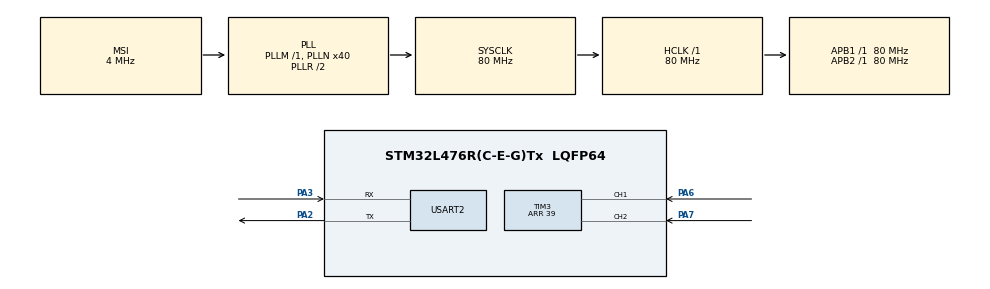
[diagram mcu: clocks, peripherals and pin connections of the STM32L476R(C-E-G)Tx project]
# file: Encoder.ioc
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Mcu.Family=STM32L4
Mcu.Name=STM32L476R(C-E-G)Tx
Mcu.Package=LQFP64
NVIC.PriorityGroup=NVIC_PRIORITYGROUP_4
PA13\ (JTMS-SWDIO).Mode=Serial_Wire
PA13\ (JTMS-SWDIO).Signal=SYS_JTMS-SWDIO
PA14\ (JTCK-SWCLK).Mode=Serial_Wire
PA14\ (JTCK-SWCLK).Signal=SYS_JTCK-SWCLK
PA2.Mode=Asynchronous
PA2.Signal=USART2_TX
PA3.Mode=Asynchronous
PA3.Signal=USART2_RX
PA6.Signal=S_TIM3_CH1
PA7.Signal=S_TIM3_CH2
ProjectManager.HeapSize=0x200
ProjectManager.StackSize=0x400
ProjectManager.TargetToolchain=STM32CubeIDE
RCC.AHBFreq_Value=80000000
RCC.APB1Freq_Value=80000000
RCC.APB1TimFreq_Value=80000000
RCC.APB2Freq_Value=80000000
RCC.APB2TimFreq_Value=80000000
RCC.CortexFreq_Value=80000000
RCC.HCLKFreq_Value=80000000
RCC.HSE_VALUE=8000000
RCC.HSI_VALUE=16000000
RCC.LSE_VALUE=32768
RCC.MSI_VALUE=4000000
RCC.PLLN=40
RCC.SYSCLKFreq_VALUE=80000000
RCC.SYSCLKSource=RCC_SYSCLKSOURCE_PLLCLK
RCC.VCOOutputFreq_Value=160000000
SH.S_TIM3_CH1.0=TIM3_CH1,Encoder_Interface
SH.S_TIM3_CH2.0=TIM3_CH2,Encoder_Interface
TIM3.Period=39
USART2.VirtualMode-Asynchronous=VM_ASYNC
board=custom

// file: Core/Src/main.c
/* USER CODE BEGIN Header */
/**
  ******************************************************************************
  * @file           : main.c
  * @brief          : Main program body
  ******************************************************************************
  * @attention
  *
  * Copyright (c) 2022 STMicroelectronics.
  * All rights reserved.
  *
  * This software is licensed under terms that can be found in the LICENSE file
  * in the root directory of this software component.
  * If no LICENSE file comes with this software, it is provided AS-IS.
  *
  ******************************************************************************
  */
/* USER CODE END Header */
#include "main.h"
#include "tim.h"
#include "usart.h"
#include "gpio.h"

/* USER CODE BEGIN Includes */
#include <stdio.h>
#include <string.h>
#include <stdbool.h>
/* USER CODE END Includes */

void SystemClock_Config(void);

/* USER CODE BEGIN 0 */

int __io_putchar(int ch)
{
	if ( ch=='\n')
	{
		uint8_t ch2 = '\r';
		HAL_UART_Transmit(&huart2, (uint8_t*)&ch2, 1, HAL_MAX_DELAY);
	}
	HAL_UART_Transmit(&huart2, (uint8_t*)&ch, 1, HAL_MAX_DELAY);
	return 1;
}

//volatile int32_t captured_value;

//void HAL_TIM_IC_CaptureCallback(TIM_HandleTypeDef *htim)
//{
//	if (htim == &htim3)
//	{
//		switch (HAL_TIM_GetActiveChannel(&htim3))
//		{
//		case HAL_TIM_ACTIVE_CHANNEL_1:
//			captured_value = HAL_TIM_ReadCapturedValue(&htim3, TIM_CHANNEL_1);
//			break;
//		default:
//			break;
//		}
//	}
//}

/* USER CODE END 0 */

int main(void)
{

  /* MCU Configuration--------------------------------------------------------*/

  /* Reset of all peripherals, Initializes the Flash interface and the Systick. */
  HAL_Init();

  /* Configure the system clock */
  SystemClock_Config();

  /* Initialize all configured peripherals */
  MX_GPIO_Init();
  MX_USART2_UART_Init();
  MX_TIM3_Init();

  /* Infinite loop */
  /* USER CODE BEGIN WHILE */
//  HAL_TIM_Base_Start(&htim3);
//  HAL_TIM_IC_Start_IT(&htim3, TIM_CHANNEL_1);
  	HAL_TIM_Encoder_Start(&htim3, TIM_CHANNEL_ALL);
//  uint32_t old_value = 0;
  	int16_t prev_value = 0;

  while (1)
  {
//	  uint32_t value = __HAL_TIM_GET_COUNTER(&htim3);
//	  if (old_value != value)
//	  {
//		  printf("value = %lu\n	", value);
//		  old_value = value;
//	  }
//	  if (captured_value != 0)
//	  {
//		  printf("Value = %lu\n", captured_value);
//		  captured_value = 0;
//	  }

	  int16_t value = __HAL_TIM_GET_COUNTER(&htim3);
	  if (value != prev_value)
	  {
		  printf("Value = %d\n", value);
		  prev_value = value;
	  }

    /* USER CODE END WHILE */

  }
}

void SystemClock_Config(void)
{
  RCC_OscInitTypeDef RCC_OscInitStruct = {0};
  RCC_ClkInitTypeDef RCC_ClkInitStruct = {0};

  /** Configure the main internal regulator output voltage
  */
  if (HAL_PWREx_ControlVoltageScaling(PWR_REGULATOR_VOLTAGE_SCALE1) != HAL_OK)
  {
    Error_Handler();
  }

  /** Initializes the RCC Oscillators according to the specified parameters
  * in the RCC_OscInitTypeDef structure.
  */
  RCC_OscInitStruct.OscillatorType = RCC_OSCILLATORTYPE_MSI;
  RCC_OscInitStruct.MSIState = RCC_MSI_ON;
  RCC_OscInitStruct.MSICalibrationValue = 0;
  RCC_OscInitStruct.MSIClockRange = RCC_MSIRANGE_6;
  RCC_OscInitStruct.PLL.PLLState = RCC_PLL_ON;
  RCC_OscInitStruct.PLL.PLLSource = RCC_PLLSOURCE_MSI;
  RCC_OscInitStruct.PLL.PLLM = 1;
  RCC_OscInitStruct.PLL.PLLN = 40;
  RCC_OscInitStruct.PLL.PLLP = RCC_PLLP_DIV7;
  RCC_OscInitStruct.PLL.PLLQ = RCC_PLLQ_DIV2;
  RCC_OscInitStruct.PLL.PLLR = RCC_PLLR_DIV2;
  if (HAL_RCC_OscConfig(&RCC_OscInitStruct) != HAL_OK)
  {
    Error_Handler();
  }

  /** Initializes the CPU, AHB and APB buses clocks
  */
  RCC_ClkInitStruct.ClockType = RCC_CLOCKTYPE_HCLK|RCC_CLOCKTYPE_SYSCLK
                              |RCC_CLOCKTYPE_PCLK1|RCC_CLOCKTYPE_PCLK2;
  RCC_ClkInitStruct.SYSCLKSource = RCC_SYSCLKSOURCE_PLLCLK;
  RCC_ClkInitStruct.AHBCLKDivider = RCC_SYSCLK_DIV1;
  RCC_ClkInitStruct.APB1CLKDivider = RCC_HCLK_DIV1;
  RCC_ClkInitStruct.APB2CLKDivider = RCC_HCLK_DIV1;

  if (HAL_RCC_ClockConfig(&RCC_ClkInitStruct, FLASH_LATENCY_4) != HAL_OK)
  {
    Error_Handler();
  }
}

void Error_Handler(void)
{
  __disable_irq();
  while (1)
  {
  }
}
